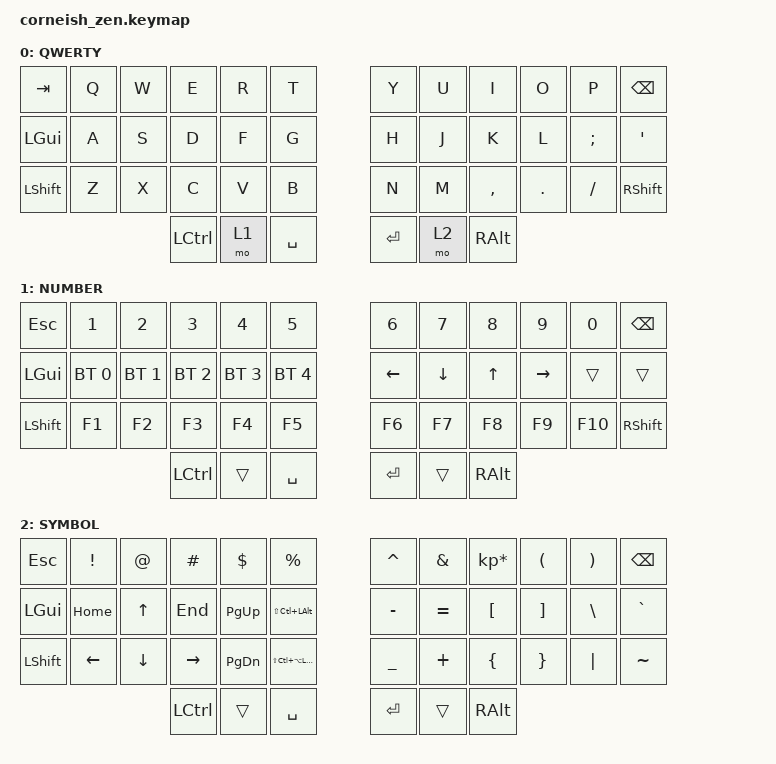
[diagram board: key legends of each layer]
#include <behaviors.dtsi>
#include <dt-bindings/zmk/keys.h>
#include <dt-bindings/zmk/bt.h>

#define HYP LS(LC(LA(LGUI)))
#define MEH LS(LC(LALT))

/ {
  chosen {
    zmk,matrix_transform = &default_transform;
    //zmk,matrix_transform = &five_column_transform;
  };
};

/ {
        keymap {
                compatible = "zmk,keymap";

                default_layer {
                        label = "QWERTY";
// -----------------------------------------------------------------------------------------
// |  TAB |  Q  |  W  |  E  |  R  |  T  |   |  Y  |  U   |  I  |  O  |  P  | BKSP  |
// | GUI  |  A  |  S  |  D  |  F  |  G  |   |  H  |  J   |  K  |  L  |  ;  |  '    |
// | SHFT |  Z  |  X  |  C  |  V  |  B  |   |  N  |  M   |  ,  |  .  |  /  | SHIFT |
//                    | CTRL| LWR | SPC |   | ENT | RSE  | ALT |
                        bindings = <
   &kp TAB   &kp Q &kp W &kp E &kp R &kp T   &kp Y &kp U  &kp I     &kp O   &kp P    &kp BSPC
   &kp LGUI  &kp A &kp S &kp D &kp F &kp G   &kp H &kp J  &kp K     &kp L   &kp SEMI &kp SQT
   &kp LSHFT &kp Z &kp X &kp C &kp V &kp B   &kp N &kp M  &kp COMMA &kp DOT &kp FSLH &kp RSHIFT
                 &kp LCTRL &mo 1 &kp SPACE   &kp RET &mo 2 &kp RALT
                        >;
                };
                lower_layer {
                        label = "NUMBER";
// -----------------------------------------------------------------------------------------
// |  ESC |  1  |  2  |  3  |  4  |  5  |   |  6  |  7  |  8  |  9  |  0  | BKSP  |
// | BTCLR| BT1 | BT2 | BT3 | BT4 | BT5 |   | LFT | DWN |  UP | RGT |     |       |
// | SHFT | F1  | F2  | F3  | F4  | F5  |   | F6  | F7  | F8  | F9  | F0  | SHIFT |
//                    | GUI |     | SPC |   | ENT |     | ALT |
                        bindings = <
   &kp ESC    &kp N1       &kp N2       &kp N3       &kp N4       &kp N5         &kp N6   &kp N7   &kp N8 &kp N9    &kp N0  &kp BSPC
   &kp LGUI   &bt BT_SEL 0 &bt BT_SEL 1 &bt BT_SEL 2 &bt BT_SEL 3 &bt BT_SEL 4   &kp LEFT &kp DOWN &kp UP &kp RIGHT &trans  &trans
   &kp LSHFT  &kp F1       &kp F2       &kp F3       &kp F4       &kp F5         &kp F6   &kp F7   &kp F8 &kp F9    &kp F10 &kp RSHIFT
                 &kp LCTRL     &trans       &kp SPACE      &kp RET  &trans   &kp RALT
                        >;
                };

                raise_layer {
                        label = "SYMBOL";
// -----------------------------------------------------------------------------------------
// |  TAB |  !  |  @  |  #  |  $      |  %  |   |  ^  |  &  |  *  |  (  |  )  | BKSP |
// | CTRL | HOME| UP  | END | PG_UP   | MEH |   |  -  |  =  |  [  |  ]  |  \  |  `   |
// | SHFT | LFT | DWN | RGT | PG_DOWN | HYP |   |  _  |  +  |  {  |  }  | "|" |  ~   |
//                    | GUI |       | SPC |   | ENT |     | ALT |
                        bindings = <
   &kp  ESC  &kp EXCL   &kp AT   &kp HASH    &kp DLLR     &kp PRCNT   &kp CARET &kp AMPS  &kp KP_MULTIPLY &kp LPAR &kp RPAR &kp BSPC
   &kp LGUI  &kp HOME   &kp UP   &kp END     &kp PG_UP    &kp MEH     &kp MINUS &kp EQUAL &kp LBKT        &kp RBKT &kp BSLH &kp GRAVE
   &kp LSHFT &kp LEFT   &kp DOWN &kp RIGHT   &kp PG_DN    &kp HYP     &kp UNDER &kp PLUS  &kp LBRC        &kp RBRC &kp PIPE &kp TILDE
                 &kp LCTRL &trans   &kp SPACE   &kp RET   &trans    &kp RALT
                        >;
                };
        };
};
